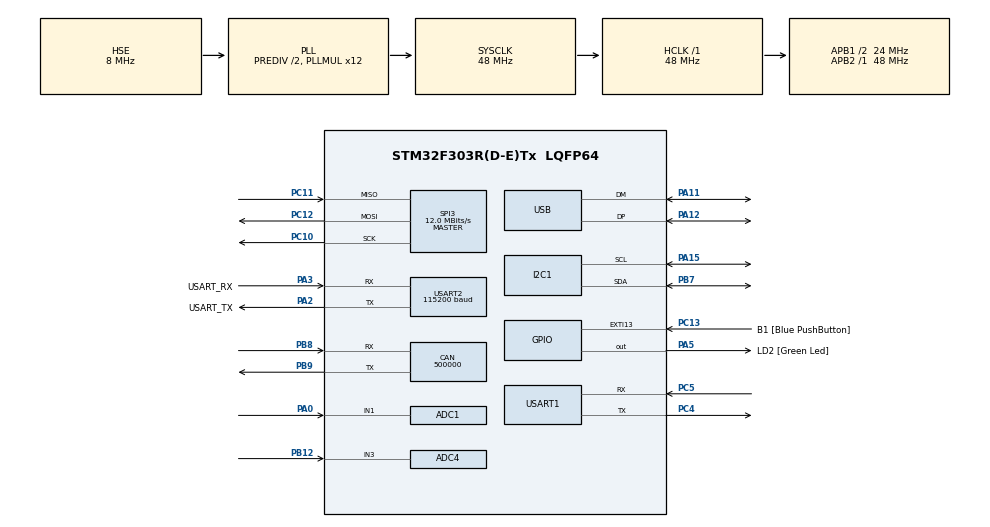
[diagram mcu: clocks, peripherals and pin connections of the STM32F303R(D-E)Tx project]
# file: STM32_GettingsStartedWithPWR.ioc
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ADC1.Channel-0\#ChannelRegularConversion=ADC_CHANNEL_1
ADC1.NbrOfConversionFlag=1
ADC1.Offset-0\#ChannelRegularConversion=0
ADC1.OffsetNumber-0\#ChannelRegularConversion=ADC_OFFSET_NONE
ADC1.Rank-0\#ChannelRegularConversion=1
ADC1.SamplingTime-0\#ChannelRegularConversion=ADC_SAMPLETIME_1CYCLE_5
ADC1.master=1
ADC4.Channel-0\#ChannelRegularConversion=ADC_CHANNEL_3
ADC4.NbrOfConversionFlag=1
ADC4.Offset-0\#ChannelRegularConversion=0
ADC4.OffsetNumber-0\#ChannelRegularConversion=ADC_OFFSET_NONE
ADC4.Rank-0\#ChannelRegularConversion=1
ADC4.SamplingTime-0\#ChannelRegularConversion=ADC_SAMPLETIME_1CYCLE_5
ADC4.SamplingTimeOPAMP-0\#ChannelRegularConversion=ADC_SAMPLETIME_19CYCLES_5
CAN.CalculateBaudRate=500000
CAN.CalculateTimeBit=2000
CAN.CalculateTimeQuantum=666.6666666666666
I2C1.Timing=0x00201D2B
Mcu.Family=STM32F3
Mcu.Name=STM32F303R(D-E)Tx
Mcu.Package=LQFP64
NVIC.EXTI15_10_IRQn=true\:0\:0\:false\:false\:true\:true\:true\:true
NVIC.PriorityGroup=NVIC_PRIORITYGROUP_0
NVIC.USB_LP_IRQn=true\:0\:0\:false\:false\:true\:false\:true\:true
PA0.Mode=IN1-Single-Ended
PA0.Signal=ADC1_IN1
PA11.Mode=Device
PA11.Signal=USB_DM
PA12.Mode=Device
PA12.Signal=USB_DP
PA13.GPIO_Label=TMS
PA13.Signal=SYS_JTMS-SWDIO
PA14.GPIO_Label=TCK
PA14.Signal=SYS_JTCK-SWCLK
PA15.Mode=I2C
PA15.Signal=I2C1_SCL
PA2.GPIO_Label=USART_TX
PA2.GPIO_Mode=GPIO_MODE_AF_PP
PA2.GPIO_PuPd=GPIO_NOPULL
PA2.GPIO_Speed=GPIO_SPEED_FREQ_LOW
PA2.Mode=Asynchronous
PA2.Signal=USART2_TX
PA3.GPIO_Label=USART_RX
PA3.GPIO_Mode=GPIO_MODE_AF_PP
PA3.GPIO_PuPd=GPIO_NOPULL
PA3.GPIO_Speed=GPIO_SPEED_FREQ_LOW
PA3.Mode=Asynchronous
PA3.Signal=USART2_RX
PA5.GPIO_Label=LD2 [Green Led]
PA5.GPIO_Mode=GPIO_MODE_OUTPUT_PP
PA5.GPIO_PuPd=GPIO_NOPULL
PA5.GPIO_Speed=GPIO_SPEED_FREQ_LOW
PA5.Signal=GPIO_Output
PB12.Mode=IN3-Single-Ended
PB12.Signal=ADC4_IN3
PB3.GPIO_Label=SWO
PB3.Signal=SYS_JTDO-TRACESWO
PB7.Mode=I2C
PB7.Signal=I2C1_SDA
PB8.Mode=CAN_Activate
PB8.Signal=CAN_RX
PB9.Mode=CAN_Activate
PB9.Signal=CAN_TX
PC10.Mode=Full_Duplex_Master
PC10.Signal=SPI3_SCK
PC11.Mode=Full_Duplex_Master
PC11.Signal=SPI3_MISO
PC12.Mode=Full_Duplex_Master
PC12.Signal=SPI3_MOSI
PC13.GPIO_Label=B1 [Blue PushButton]
PC13.GPIO_ModeDefaultEXTI=GPIO_MODE_IT_FALLING
PC13.Signal=GPXTI13
PC14-OSC32_IN.Signal=RCC_OSC32_IN
PC15-OSC32_OUT.Signal=RCC_OSC32_OUT
PC4.Mode=Asynchronous
PC4.Signal=USART1_TX
PC5.Mode=Asynchronous
PC5.Signal=USART1_RX
PF0-OSC_IN.Mode=HSE-External-Oscillator
PF0-OSC_IN.Signal=RCC_OSC_IN
PF1-OSC_OUT.Mode=HSE-External-Oscillator
PF1-OSC_OUT.Signal=RCC_OSC_OUT
ProjectManager.HeapSize=0x200
ProjectManager.StackSize=0x400
ProjectManager.TargetToolchain=STM32CubeIDE
RCC.AHBFreq_Value=48000000
RCC.APB1CLKDivider=RCC_HCLK_DIV2
RCC.APB1Freq_Value=24000000
RCC.APB1TimFreq_Value=48000000
RCC.APB2Freq_Value=48000000
RCC.APB2TimFreq_Value=48000000
RCC.CortexFreq_Value=48000000
RCC.HCLKFreq_Value=48000000
RCC.HSE_VALUE=8000000
RCC.HSI_VALUE=8000000
RCC.LSE_VALUE=32768
RCC.PLLDivider=RCC_PREDIV_DIV2
RCC.PLLM=8
RCC.PLLMUL=RCC_PLL_MUL12
RCC.PLLN=336
RCC.PLLP=RCC_PLLP_DIV4
RCC.PLLQ=7
RCC.RCC_PLLsource_Clock_Source_FROM_HSE=RCC_HSE_PREDIV_DIV2
RCC.SYSCLKFreq_VALUE=48000000
RCC.SYSCLKSourceVirtual=RCC_SYSCLKSOURCE_PLLCLK
RCC.USBFreq_Value=48000000
SPI3.CalculateBaudRate=12.0 MBits/s
SPI3.Direction=SPI_DIRECTION_2LINES
SPI3.Mode=SPI_MODE_MASTER
SPI3.VirtualType=VM_MASTER
USART1.VirtualMode-Asynchronous=VM_ASYNC
USART2.BaudRate=115200
USART2.VirtualMode-Asynchronous=VM_ASYNC
USB_DEVICE.CLASS_NAME_FS=CDC
USB_DEVICE.VirtualMode=Cdc
USB_DEVICE.VirtualModeFS=Cdc_FS
VP_RTC_VS_RTC_Activate.Mode=RTC_Enabled
VP_TIM1_VS_ClockSourceINT.Mode=Internal
VP_USB_DEVICE_VS_USB_DEVICE_CDC_FS.Mode=CDC_FS
board=NUCLEO-F303RE

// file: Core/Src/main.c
/* USER CODE BEGIN Header */
/**
  ******************************************************************************
  * @file           : main.c
  * @brief          : Main program body
  ******************************************************************************
  * @attention
  *
  * Copyright (c) 2026 STMicroelectronics.
  * All rights reserved.
  *
  * This software is licensed under terms that can be found in the LICENSE file
  * in the root directory of this software component.
  * If no LICENSE file comes with this software, it is provided AS-IS.
  *
  ******************************************************************************
  */
/* USER CODE END Header */
#include "main.h"
#include "usb_device.h"
#include "string.h"
#include <stdio.h>

ADC_HandleTypeDef hadc1;
ADC_HandleTypeDef hadc4;

CAN_HandleTypeDef hcan;

I2C_HandleTypeDef hi2c1;

RTC_HandleTypeDef hrtc;

SPI_HandleTypeDef hspi3;

TIM_HandleTypeDef htim1;

UART_HandleTypeDef huart1;
UART_HandleTypeDef huart2;

void SystemClock_Config(void);
static void MX_GPIO_Init(void);
static void MX_ADC1_Init(void);
static void MX_ADC4_Init(void);
static void MX_CAN_Init(void);
static void MX_I2C1_Init(void);
static void MX_RTC_Init(void);
static void MX_SPI3_Init(void);
static void MX_TIM1_Init(void);
static void MX_USART1_UART_Init(void);
static void MX_USART2_UART_Init(void);

/* USER CODE BEGIN 0 */
void SleepMode(void){
	HAL_UART_DeInit(&huart2);
	HAL_SuspendTick();
	__HAL_RCC_PWR_CLK_ENABLE();
	HAL_PWR_EnterSLEEPMode(PWR_MAINREGULATOR_ON, PWR_SLEEPENTRY_WFI);
	HAL_ResumeTick();
	MX_USART2_UART_Init();
}

void StopMode(void){
	HAL_UART_DeInit(&huart2);
	HAL_SuspendTick();
	__HAL_RCC_PWR_CLK_ENABLE();
	HAL_PWR_EnterSTOPMode(PWR_MAINREGULATOR_ON, PWR_SLEEPENTRY_WFI);
	HAL_ResumeTick();
	MX_USART2_UART_Init();
}

void StandbyMode(void){
	__HAL_RCC_PWR_CLK_ENABLE();
	HAL_PWR_DisableWakeUpPin(PWR_WAKEUP_PIN1);
	__HAL_PWR_CLEAR_FLAG(PWR_FLAG_WU);
	HAL_PWR_EnableWakeUpPin(PWR_WAKEUP_PIN1);
	HAL_PWR_EnterSTANDBYMode();
}

/* USER CODE END 0 */

int main(void)
{

  /* USER CODE BEGIN 1 */
	char msg[50];
  /* USER CODE END 1 */

  /* MCU Configuration--------------------------------------------------------*/

  /* Reset of all peripherals, Initializes the Flash interface and the Systick. */
  HAL_Init();

  /* Configure the system clock */
  SystemClock_Config();

  /* Initialize all configured peripherals */
  MX_GPIO_Init();
  MX_ADC1_Init();
  MX_ADC4_Init();
  MX_CAN_Init();
  MX_I2C1_Init();
  MX_RTC_Init();
  MX_SPI3_Init();
  MX_TIM1_Init();
  MX_USART1_UART_Init();
  MX_USB_DEVICE_Init();
  MX_USART2_UART_Init();
  /* USER CODE BEGIN 2 */
  __HAL_RCC_PWR_CLK_ENABLE();
  /* USER CODE END 2 */

  /* Infinite loop */
  while (1)
  {

    /* USER CODE BEGIN 3 */
	if(__HAL_PWR_GET_FLAG(PWR_FLAG_SB)){
		/* Если установлен флаг режима ожидания в PWR->CSR, то генерируется сброс
		* при выходе из режима ожидания (STANDBY) */
		sprintf(msg, "RESET after STANDBY mode\r\n");
		HAL_UART_Transmit(&huart2, (const uint8_t*)msg, strlen(msg), 1000);
		__HAL_PWR_CLEAR_FLAG(PWR_FLAG_WU|PWR_FLAG_SB);
	}

	sprintf(msg, "MCU in run Mode\r\n");
	HAL_UART_Transmit(&huart2, (const uint8_t*)msg, strlen(msg), 1000);
	while(HAL_GPIO_ReadPin(GPIOC, GPIO_PIN_13) == GPIO_PIN_SET){
		HAL_GPIO_TogglePin(LD2_GPIO_Port, LD2_Pin);
		HAL_Delay(100);
	}

	HAL_Delay(200);

	sprintf(msg, "Entering in Sleep Mode\r\n");
	HAL_UART_Transmit(&huart2, (const uint8_t*)msg, strlen(msg), 1000);

	SleepMode();

	sprintf(msg, "Exiting from Sleep Mode\r\n");
	HAL_UART_Transmit(&huart2, (const uint8_t*)msg, strlen(msg), 1000);

	while(HAL_GPIO_ReadPin(GPIOC, GPIO_PIN_13) == GPIO_PIN_SET);
	HAL_Delay(200);

	sprintf(msg, "Entering in Stop Mode\r\n");
	HAL_UART_Transmit(&huart2, (const uint8_t*)msg, strlen(msg), 1000);

	StopMode();

	sprintf(msg, "Exiting from Stop Mode\r\n");
	HAL_UART_Transmit(&huart2, (const uint8_t*)msg, strlen(msg), 1000);

	while(HAL_GPIO_ReadPin(GPIOC, GPIO_PIN_13) == GPIO_PIN_SET);
	HAL_Delay(200);

	sprintf(msg, "Entering in StandBy Mode\r\n");
	HAL_UART_Transmit(&huart2, (const uint8_t*)msg, strlen(msg), 1000);

	StandbyMode();

	while(1); // никогда сюда не придем
  }
  /* USER CODE END 3 */
}

void SystemClock_Config(void)
{
  RCC_OscInitTypeDef RCC_OscInitStruct = {0};
  RCC_ClkInitTypeDef RCC_ClkInitStruct = {0};
  RCC_PeriphCLKInitTypeDef PeriphClkInit = {0};

  /** Initializes the RCC Oscillators according to the specified parameters
  * in the RCC_OscInitTypeDef structure.
  */
  RCC_OscInitStruct.OscillatorType = RCC_OSCILLATORTYPE_HSI|RCC_OSCILLATORTYPE_LSI
                              |RCC_OSCILLATORTYPE_HSE;
  RCC_OscInitStruct.HSEState = RCC_HSE_ON;
  RCC_OscInitStruct.HSIState = RCC_HSI_ON;
  RCC_OscInitStruct.HSICalibrationValue = RCC_HSICALIBRATION_DEFAULT;
  RCC_OscInitStruct.LSIState = RCC_LSI_ON;
  RCC_OscInitStruct.PLL.PLLState = RCC_PLL_ON;
  RCC_OscInitStruct.PLL.PLLSource = RCC_PLLSOURCE_HSE;
  RCC_OscInitStruct.PLL.PLLMUL = RCC_PLL_MUL12;
  RCC_OscInitStruct.PLL.PREDIV = RCC_PREDIV_DIV2;
  if (HAL_RCC_OscConfig(&RCC_OscInitStruct) != HAL_OK)
  {
    Error_Handler();
  }

  /** Initializes the CPU, AHB and APB buses clocks
  */
  RCC_ClkInitStruct.ClockType = RCC_CLOCKTYPE_HCLK|RCC_CLOCKTYPE_SYSCLK
                              |RCC_CLOCKTYPE_PCLK1|RCC_CLOCKTYPE_PCLK2;
  RCC_ClkInitStruct.SYSCLKSource = RCC_SYSCLKSOURCE_PLLCLK;
  RCC_ClkInitStruct.AHBCLKDivider = RCC_SYSCLK_DIV1;
  RCC_ClkInitStruct.APB1CLKDivider = RCC_HCLK_DIV2;
  RCC_ClkInitStruct.APB2CLKDivider = RCC_HCLK_DIV1;

  if (HAL_RCC_ClockConfig(&RCC_ClkInitStruct, FLASH_LATENCY_1) != HAL_OK)
  {
    Error_Handler();
  }
  PeriphClkInit.PeriphClockSelection = RCC_PERIPHCLK_USB|RCC_PERIPHCLK_USART1
                              |RCC_PERIPHCLK_USART2|RCC_PERIPHCLK_I2C1
                              |RCC_PERIPHCLK_RTC|RCC_PERIPHCLK_TIM1
                              |RCC_PERIPHCLK_ADC12|RCC_PERIPHCLK_ADC34;
  PeriphClkInit.Usart1ClockSelection = RCC_USART1CLKSOURCE_PCLK2;
  PeriphClkInit.Usart2ClockSelection = RCC_USART2CLKSOURCE_PCLK1;
  PeriphClkInit.Adc12ClockSelection = RCC_ADC12PLLCLK_DIV1;
  PeriphClkInit.Adc34ClockSelection = RCC_ADC34PLLCLK_DIV1;
  PeriphClkInit.I2c1ClockSelection = RCC_I2C1CLKSOURCE_HSI;
  PeriphClkInit.RTCClockSelection = RCC_RTCCLKSOURCE_LSI;
  PeriphClkInit.USBClockSelection = RCC_USBCLKSOURCE_PLL;
  PeriphClkInit.Tim1ClockSelection = RCC_TIM1CLK_HCLK;
  if (HAL_RCCEx_PeriphCLKConfig(&PeriphClkInit) != HAL_OK)
  {
    Error_Handler();
  }
}

static void MX_ADC1_Init(void)
{

  ADC_MultiModeTypeDef multimode = {0};
  ADC_ChannelConfTypeDef sConfig = {0};

  /** Common config
  */
  hadc1.Instance = ADC1;
  hadc1.Init.ClockPrescaler = ADC_CLOCK_ASYNC_DIV1;
  hadc1.Init.Resolution = ADC_RESOLUTION_12B;
  hadc1.Init.ScanConvMode = ADC_SCAN_DISABLE;
  hadc1.Init.ContinuousConvMode = DISABLE;
  hadc1.Init.DiscontinuousConvMode = DISABLE;
  hadc1.Init.ExternalTrigConvEdge = ADC_EXTERNALTRIGCONVEDGE_NONE;
  hadc1.Init.ExternalTrigConv = ADC_SOFTWARE_START;
  hadc1.Init.DataAlign = ADC_DATAALIGN_RIGHT;
  hadc1.Init.NbrOfConversion = 1;
  hadc1.Init.DMAContinuousRequests = DISABLE;
  hadc1.Init.EOCSelection = ADC_EOC_SINGLE_CONV;
  hadc1.Init.LowPowerAutoWait = DISABLE;
  hadc1.Init.Overrun = ADC_OVR_DATA_OVERWRITTEN;
  if (HAL_ADC_Init(&hadc1) != HAL_OK)
  {
    Error_Handler();
  }

  /** Configure the ADC multi-mode
  */
  multimode.Mode = ADC_MODE_INDEPENDENT;
  if (HAL_ADCEx_MultiModeConfigChannel(&hadc1, &multimode) != HAL_OK)
  {
    Error_Handler();
  }

  /** Configure Regular Channel
  */
  sConfig.Channel = ADC_CHANNEL_1;
  sConfig.Rank = ADC_REGULAR_RANK_1;
  sConfig.SingleDiff = ADC_SINGLE_ENDED;
  sConfig.SamplingTime = ADC_SAMPLETIME_1CYCLE_5;
  sConfig.OffsetNumber = ADC_OFFSET_NONE;
  sConfig.Offset = 0;
  if (HAL_ADC_ConfigChannel(&hadc1, &sConfig) != HAL_OK)
  {
    Error_Handler();
  }

}

static void MX_ADC4_Init(void)
{

  ADC_ChannelConfTypeDef sConfig = {0};

  /** Common config
  */
  hadc4.Instance = ADC4;
  hadc4.Init.ClockPrescaler = ADC_CLOCK_ASYNC_DIV1;
  hadc4.Init.Resolution = ADC_RESOLUTION_12B;
  hadc4.Init.ScanConvMode = ADC_SCAN_DISABLE;
  hadc4.Init.ContinuousConvMode = DISABLE;
  hadc4.Init.DiscontinuousConvMode = DISABLE;
  hadc4.Init.ExternalTrigConvEdge = ADC_EXTERNALTRIGCONVEDGE_NONE;
  hadc4.Init.ExternalTrigConv = ADC_SOFTWARE_START;
  hadc4.Init.DataAlign = ADC_DATAALIGN_RIGHT;
  hadc4.Init.NbrOfConversion = 1;
  hadc4.Init.DMAContinuousRequests = DISABLE;
  hadc4.Init.EOCSelection = ADC_EOC_SINGLE_CONV;
  hadc4.Init.LowPowerAutoWait = DISABLE;
  hadc4.Init.Overrun = ADC_OVR_DATA_OVERWRITTEN;
  if (HAL_ADC_Init(&hadc4) != HAL_OK)
  {
    Error_Handler();
  }

  /** Configure Regular Channel
  */
  sConfig.Channel = ADC_CHANNEL_3;
  sConfig.Rank = ADC_REGULAR_RANK_1;
  sConfig.SingleDiff = ADC_SINGLE_ENDED;
  sConfig.SamplingTime = ADC_SAMPLETIME_1CYCLE_5;
  sConfig.OffsetNumber = ADC_OFFSET_NONE;
  sConfig.Offset = 0;
  if (HAL_ADC_ConfigChannel(&hadc4, &sConfig) != HAL_OK)
  {
    Error_Handler();
  }

}

static void MX_CAN_Init(void)
{

  hcan.Instance = CAN;
  hcan.Init.Prescaler = 16;
  hcan.Init.Mode = CAN_MODE_NORMAL;
  hcan.Init.SyncJumpWidth = CAN_SJW_1TQ;
  hcan.Init.TimeSeg1 = CAN_BS1_1TQ;
  hcan.Init.TimeSeg2 = CAN_BS2_1TQ;
  hcan.Init.TimeTriggeredMode = DISABLE;
  hcan.Init.AutoBusOff = DISABLE;
  hcan.Init.AutoWakeUp = DISABLE;
  hcan.Init.AutoRetransmission = DISABLE;
  hcan.Init.ReceiveFifoLocked = DISABLE;
  hcan.Init.TransmitFifoPriority = DISABLE;
  if (HAL_CAN_Init(&hcan) != HAL_OK)
  {
    Error_Handler();
  }

}

static void MX_I2C1_Init(void)
{

  hi2c1.Instance = I2C1;
  hi2c1.Init.Timing = 0x00201D2B;
  hi2c1.Init.OwnAddress1 = 0;
  hi2c1.Init.AddressingMode = I2C_ADDRESSINGMODE_7BIT;
  hi2c1.Init.DualAddressMode = I2C_DUALADDRESS_DISABLE;
  hi2c1.Init.OwnAddress2 = 0;
  hi2c1.Init.OwnAddress2Masks = I2C_OA2_NOMASK;
  hi2c1.Init.GeneralCallMode = I2C_GENERALCALL_DISABLE;
  hi2c1.Init.NoStretchMode = I2C_NOSTRETCH_DISABLE;
  if (HAL_I2C_Init(&hi2c1) != HAL_OK)
  {
    Error_Handler();
  }

  /** Configure Analogue filter
  */
  if (HAL_I2CEx_ConfigAnalogFilter(&hi2c1, I2C_ANALOGFILTER_ENABLE) != HAL_OK)
  {
    Error_Handler();
  }

  /** Configure Digital filter
  */
  if (HAL_I2CEx_ConfigDigitalFilter(&hi2c1, 0) != HAL_OK)
  {
    Error_Handler();
  }

}

static void MX_RTC_Init(void)
{

  /** Initialize RTC Only
  */
  hrtc.Instance = RTC;
  hrtc.Init.HourFormat = RTC_HOURFORMAT_24;
  hrtc.Init.AsynchPrediv = 127;
  hrtc.Init.SynchPrediv = 255;
  hrtc.Init.OutPut = RTC_OUTPUT_DISABLE;
  hrtc.Init.OutPutPolarity = RTC_OUTPUT_POLARITY_HIGH;
  hrtc.Init.OutPutType = RTC_OUTPUT_TYPE_OPENDRAIN;
  if (HAL_RTC_Init(&hrtc) != HAL_OK)
  {
    Error_Handler();
  }

}

static void MX_SPI3_Init(void)
{

  /* SPI3 parameter configuration*/
  hspi3.Instance = SPI3;
  hspi3.Init.Mode = SPI_MODE_MASTER;
  hspi3.Init.Direction = SPI_DIRECTION_2LINES;
  hspi3.Init.DataSize = SPI_DATASIZE_4BIT;
  hspi3.Init.CLKPolarity = SPI_POLARITY_LOW;
  hspi3.Init.CLKPhase = SPI_PHASE_1EDGE;
  hspi3.Init.NSS = SPI_NSS_SOFT;
  hspi3.Init.BaudRatePrescaler = SPI_BAUDRATEPRESCALER_2;
  hspi3.Init.FirstBit = SPI_FIRSTBIT_MSB;
  hspi3.Init.TIMode = SPI_TIMODE_DISABLE;
  hspi3.Init.CRCCalculation = SPI_CRCCALCULATION_DISABLE;
  hspi3.Init.CRCPolynomial = 7;
  hspi3.Init.CRCLength = SPI_CRC_LENGTH_DATASIZE;
  hspi3.Init.NSSPMode = SPI_NSS_PULSE_ENABLE;
  if (HAL_SPI_Init(&hspi3) != HAL_OK)
  {
    Error_Handler();
  }

}

static void MX_TIM1_Init(void)
{

  TIM_ClockConfigTypeDef sClockSourceConfig = {0};
  TIM_MasterConfigTypeDef sMasterConfig = {0};

  htim1.Instance = TIM1;
  htim1.Init.Prescaler = 0;
  htim1.Init.CounterMode = TIM_COUNTERMODE_UP;
  htim1.Init.Period = 65535;
  htim1.Init.ClockDivision = TIM_CLOCKDIVISION_DIV1;
  htim1.Init.RepetitionCounter = 0;
  htim1.Init.AutoReloadPreload = TIM_AUTORELOAD_PRELOAD_DISABLE;
  if (HAL_TIM_Base_Init(&htim1) != HAL_OK)
  {
    Error_Handler();
  }
  sClockSourceConfig.ClockSource = TIM_CLOCKSOURCE_INTERNAL;
  if (HAL_TIM_ConfigClockSource(&htim1, &sClockSourceConfig) != HAL_OK)
  {
    Error_Handler();
  }
  sMasterConfig.MasterOutputTrigger = TIM_TRGO_RESET;
  sMasterConfig.MasterOutputTrigger2 = TIM_TRGO2_RESET;
  sMasterConfig.MasterSlaveMode = TIM_MASTERSLAVEMODE_DISABLE;
  if (HAL_TIMEx_MasterConfigSynchronization(&htim1, &sMasterConfig) != HAL_OK)
  {
    Error_Handler();
  }

}

static void MX_USART1_UART_Init(void)
{

  huart1.Instance = USART1;
  huart1.Init.BaudRate = 38400;
  huart1.Init.WordLength = UART_WORDLENGTH_8B;
  huart1.Init.StopBits = UART_STOPBITS_1;
  huart1.Init.Parity = UART_PARITY_NONE;
  huart1.Init.Mode = UART_MODE_TX_RX;
  huart1.Init.HwFlowCtl = UART_HWCONTROL_NONE;
  huart1.Init.OverSampling = UART_OVERSAMPLING_16;
  huart1.Init.OneBitSampling = UART_ONE_BIT_SAMPLE_DISABLE;
  huart1.AdvancedInit.AdvFeatureInit = UART_ADVFEATURE_NO_INIT;
  if (HAL_UART_Init(&huart1) != HAL_OK)
  {
    Error_Handler();
  }

}

static void MX_USART2_UART_Init(void)
{

  huart2.Instance = USART2;
  huart2.Init.BaudRate = 115200;
  huart2.Init.WordLength = UART_WORDLENGTH_8B;
  huart2.Init.StopBits = UART_STOPBITS_1;
  huart2.Init.Parity = UART_PARITY_NONE;
  huart2.Init.Mode = UART_MODE_TX_RX;
  huart2.Init.HwFlowCtl = UART_HWCONTROL_NONE;
  huart2.Init.OverSampling = UART_OVERSAMPLING_16;
  huart2.Init.OneBitSampling = UART_ONE_BIT_SAMPLE_DISABLE;
  huart2.AdvancedInit.AdvFeatureInit = UART_ADVFEATURE_NO_INIT;
  if (HAL_UART_Init(&huart2) != HAL_OK)
  {
    Error_Handler();
  }

}

static void MX_GPIO_Init(void)
{
  GPIO_InitTypeDef GPIO_InitStruct = {0};

  /* GPIO Ports Clock Enable */
  __HAL_RCC_GPIOC_CLK_ENABLE();
  __HAL_RCC_GPIOF_CLK_ENABLE();
  __HAL_RCC_GPIOA_CLK_ENABLE();
  __HAL_RCC_GPIOB_CLK_ENABLE();
  __HAL_RCC_GPIOD_CLK_ENABLE();

  /*Configure GPIO pin Output Level */
  HAL_GPIO_WritePin(LD2_GPIO_Port, LD2_Pin, GPIO_PIN_RESET);

  /*Configure GPIO pin : B1_Pin */
  GPIO_InitStruct.Pin = B1_Pin;
  GPIO_InitStruct.Mode = GPIO_MODE_IT_FALLING;
  GPIO_InitStruct.Pull = GPIO_NOPULL;
  HAL_GPIO_Init(B1_GPIO_Port, &GPIO_InitStruct);

  /*Configure GPIO pins : PC0 PC1 PC2 PC3
                           PC6 PC7 PC8 PC9 */
  GPIO_InitStruct.Pin = GPIO_PIN_0|GPIO_PIN_1|GPIO_PIN_2|GPIO_PIN_3
                          |GPIO_PIN_6|GPIO_PIN_7|GPIO_PIN_8|GPIO_PIN_9;
  GPIO_InitStruct.Mode = GPIO_MODE_ANALOG;
  GPIO_InitStruct.Pull = GPIO_NOPULL;
  HAL_GPIO_Init(GPIOC, &GPIO_InitStruct);

  /*Configure GPIO pins : PA1 PA4 PA6 PA7
                           PA8 PA9 PA10 */
  GPIO_InitStruct.Pin = GPIO_PIN_1|GPIO_PIN_4|GPIO_PIN_6|GPIO_PIN_7
                          |GPIO_PIN_8|GPIO_PIN_9|GPIO_PIN_10;
  GPIO_InitStruct.Mode = GPIO_MODE_ANALOG;
  GPIO_InitStruct.Pull = GPIO_NOPULL;
  HAL_GPIO_Init(GPIOA, &GPIO_InitStruct);

  /*Configure GPIO pin : LD2_Pin */
  GPIO_InitStruct.Pin = LD2_Pin;
  GPIO_InitStruct.Mode = GPIO_MODE_OUTPUT_PP;
  GPIO_InitStruct.Pull = GPIO_NOPULL;
  GPIO_InitStruct.Speed = GPIO_SPEED_FREQ_LOW;
  HAL_GPIO_Init(LD2_GPIO_Port, &GPIO_InitStruct);

  /*Configure GPIO pins : PB0 PB1 PB2 PB10
                           PB11 PB13 PB14 PB15
                           PB4 PB5 PB6 */
  GPIO_InitStruct.Pin = GPIO_PIN_0|GPIO_PIN_1|GPIO_PIN_2|GPIO_PIN_10
                          |GPIO_PIN_11|GPIO_PIN_13|GPIO_PIN_14|GPIO_PIN_15
                          |GPIO_PIN_4|GPIO_PIN_5|GPIO_PIN_6;
  GPIO_InitStruct.Mode = GPIO_MODE_ANALOG;
  GPIO_InitStruct.Pull = GPIO_NOPULL;
  HAL_GPIO_Init(GPIOB, &GPIO_InitStruct);

  /*Configure GPIO pin : PD2 */
  GPIO_InitStruct.Pin = GPIO_PIN_2;
  GPIO_InitStruct.Mode = GPIO_MODE_ANALOG;
  GPIO_InitStruct.Pull = GPIO_NOPULL;
  HAL_GPIO_Init(GPIOD, &GPIO_InitStruct);

  /* EXTI interrupt init*/
  HAL_NVIC_SetPriority(EXTI15_10_IRQn, 0, 0);
  HAL_NVIC_EnableIRQ(EXTI15_10_IRQn);

}

void Error_Handler(void)
{
  __disable_irq();
  while (1)
  {
  }
}
